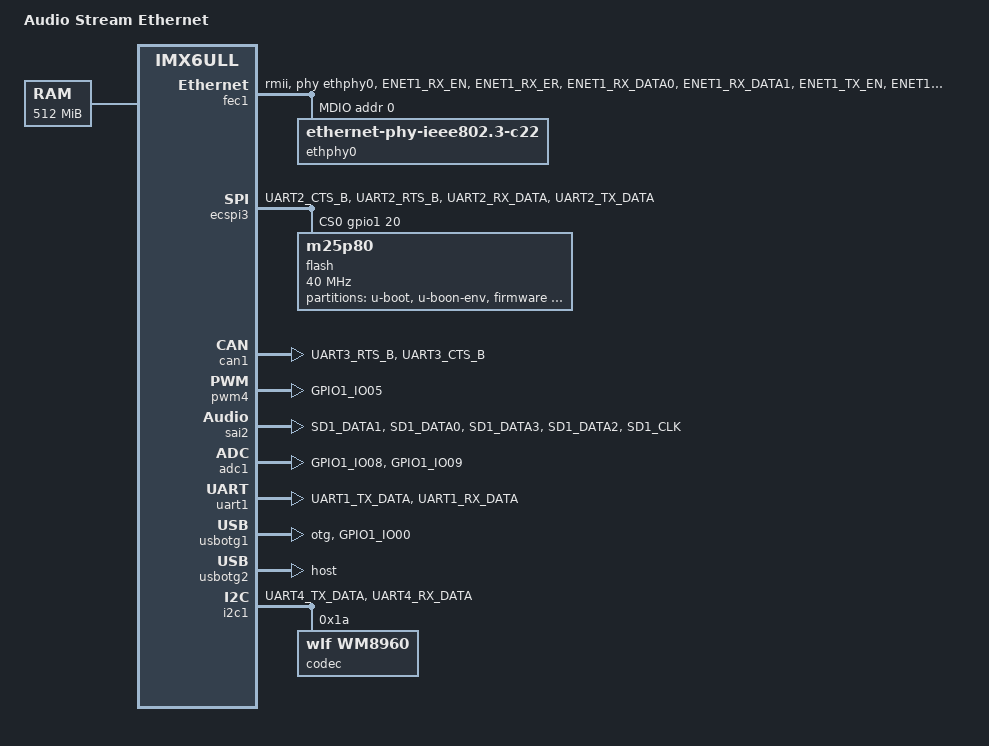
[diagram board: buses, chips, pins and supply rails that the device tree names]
/*
 * Copyright (C) 2016 Freescale Semiconductor, Inc.
 *
 * This program is free software; you can redistribute it and/or modify
 * it under the terms of the GNU General Public License version 2 as
 * published by the Free Software Foundation.
 */

/dts-v1/;

#include <dt-bindings/input/input.h>
#include "imx6ull.dtsi"

/ {
	model = "Audio Stream Ethernet";
	compatible = "wirelessroad,gw-imx6ull", "fsl,imx6ull";

	chosen {
		stdout-path = &uart1;
		bootargs = "console=ttymxc0,115200 rootwait fixrtc quiet";
	};

	memory {
		reg = <0x80000000 0x20000000>;
	};

	aliases {
		cpu0 = &cpu0;
		can1 = &can1;
		can2 = &can2;
		clks = &clks;
		fec1 = &fec1;
		ecspi3 = &ecspi3;
		gpc = &gpc;
		gpmi = &gpmi;
		iomuxc = &iomuxc;
		pwm4 = &pwm4;
		adc1 = &adc1;
		usbotg1 = &usbotg1;
		usbotg2 = &usbotg2;
		usdhc1 = &usdhc1;
		wdog1 = &wdog1;
	};
	
	soc {
		aips3: aips-bus@02200000 {
			compatible = "fsl,aips-bus", "simple-bus";
			#address-cells = <1>;
			#size-cells = <1>;
			reg = <0x02200000 0x100000>;
			ranges;

			dcp: dcp@02280000 {
				compatible = "fsl,imx6sl-dcp";
				reg = <0x02280000 0x4000>;
				interrupts = <GIC_SPI 46 IRQ_TYPE_LEVEL_HIGH>,
					     <GIC_SPI 47 IRQ_TYPE_LEVEL_HIGH>,
					     <GIC_SPI 48 IRQ_TYPE_LEVEL_HIGH>;
				clocks = <&clks IMX6ULL_CLK_DCP_CLK>;
				clock-names = "dcp";
			};

			rngb: rngb@02284000 {
				compatible = "fsl,imx6sl-rng", "fsl,imx-rng", "imx-rng";
				reg = <0x02284000 0x4000>;
				interrupts = <GIC_SPI 6 IRQ_TYPE_LEVEL_HIGH>;
				clocks =  <&clks IMX6UL_CLK_DUMMY>;
			};

			iomuxc_snvs: iomuxc-snvs@02290000 {
				compatible = "fsl,imx6ull-iomuxc-snvs";
				reg = <0x02290000 0x10000>;
				pinctrl-names = "default_snvs";
			};

		};
	};

	sound {
		compatible = "simple-audio-card";
		simple-audio-card,name = "mx6ul-wm8960";
		simple-audio-card,format = "i2s";
		simple-audio-card,bitclock-master = <&dailink_master>;
		simple-audio-card,frame-master = <&dailink_master>;
		simple-audio-card,widgets =
			"Microphone", "Mic Jack",
			"Line", "Line In",
			"Line", "Line Out",
			"Speaker", "Speaker",
			"Headphone", "Headphone Jack";
		simple-audio-card,routing =
			"Headphone Jack", "HP_L",
			"Headphone Jack", "HP_R",
			"Speaker", "SPK_LP",
			"Speaker", "SPK_LN",
			"Speaker", "SPK_RP",
			"Speaker", "SPK_RN",
			"LINPUT1", "Mic Jack",
			"LINPUT2", "Mic Jack",
			"RINPUT2", "Line In";

		simple-audio-card,cpu {
			sound-dai = <&sai2>;
		};

		dailink_master: simple-audio-card,codec {
			sound-dai = <&codec>;
			clocks = <&clks IMX6UL_CLK_SAI2>;
		};
	};
};

&cpu0 {
	operating-points = <
		/* kHz  uV */
		900000  1275000
		792000  1225000
		528000  1175000
		396000  1025000
		198000  950000
	>;
	fsl,soc-operating-points = <
		/* KHz  uV */
		900000  1250000
		792000  1175000
		528000  1175000
		396000  1175000
		198000  1175000
	>;
};

&clks {
	assigned-clocks = <&clks IMX6UL_CLK_PLL4_AUDIO_DIV>;
	assigned-clock-rates = <786432000>;
};

&fec1 {
	pinctrl-names = "default";
	pinctrl-0 = <&pinctrl_enet1>;
	phy-mode = "rmii";
	phy-handle = <&ethphy0>;
	status = "okay";
	mdio {
		#address-cells = <1>;
		#size-cells = <0>;

		ethphy0: ethernet-phy@0 {
			compatible = "ethernet-phy-ieee802.3-c22";
			reg = <0>;
		};

	};
};

&ecspi3 {
	fsl,spi-num-chipselects = <1>;
	cs-gpios = <&gpio1 20 0>;
	pinctrl-names = "default";
	pinctrl-0 = <&pinctrl_ecspi3_0>;
	status = "okay";
	dma-names = "rx", "tx";
	dmas = <&sdma 7 7 1>, <&sdma 8 7 2>;

	flash@0 {
		#address-cells = <1>;
		#size-cells = <1>;
		status = "okay";
		compatible = "m25p80";
		spi-max-frequency = <40000000>;
		reg = <0>;
		partition@0 {
			label = "u-boot";
			reg = <0x000000 0x0c0000>;
		};
		partition@1 {
			label = "u-boon-env";
			reg = <0x0c0000 0x040000>;
		};
		partition@2 {
			label = "firmware";
			reg = <0x100000 0x700000>;
		};
		partition@3 {
			label = "factory";
			reg = <0x000000 0x800000>;
		};
	};
};


&can1 {
	pinctrl-names = "default";
	pinctrl-0 = <&pinctrl_flexcan0>;
	status = "okay";
};


&gpc {
	fsl,cpu_pupscr_sw2iso = <0x1>;
	fsl,cpu_pupscr_sw = <0x0>;
	fsl,cpu_pdnscr_iso2sw = <0x1>;
	fsl,cpu_pdnscr_iso = <0x1>;
	fsl,ldo-bypass = <0>; /* DCDC, ldo-enable */
};

&iomuxc {
	pinctrl-names = "default";
	pinctrl-0 = <&pinctrl_hog_1>;
	imx6ul-evk {
		pinctrl_hog_1: hoggrp-1 {
			fsl,pins = <
				MX6UL_PAD_UART1_RTS_B__GPIO1_IO19	0x17059 /* SD1 CD */
			>;
		};

		pinctrl_adc1: adc1grp {
			fsl,pins = <
				MX6UL_PAD_GPIO1_IO08__GPIO1_IO08        0xb0
				MX6UL_PAD_GPIO1_IO09__GPIO1_IO09        0xb0
			>;
		};
		
		pinctrl_ecspi3_0: ecspi3grp-0 {
			fsl,pins = <
				MX6UL_PAD_UART2_CTS_B__ECSPI3_MOSI	0x110b1
				MX6UL_PAD_UART2_RTS_B__ECSPI3_MISO	0x110b1
				MX6UL_PAD_UART2_RX_DATA__ECSPI3_SCLK	0x110b1
				MX6UL_PAD_UART2_TX_DATA__GPIO1_IO20	0x10b0
			>;
		};

		pinctrl_i2c1: i2c1grp {
			fsl,pins = <
				MX6UL_PAD_UART4_TX_DATA__I2C1_SCL	0x4001b8b0
				MX6UL_PAD_UART4_RX_DATA__I2C1_SDA	0x4001b8b0
			>;
		};

		pinctrl_usb_otg1_id: usbotg1idgrp {
			fsl,pins = <
				MX6UL_PAD_GPIO1_IO00__ANATOP_OTG1_ID	0x17059
			>;
		};
		
		pinctrl_enet1: enet1grp {
			fsl,pins = <
				MX6UL_PAD_ENET1_RX_EN__ENET1_RX_EN	0x1b0b0
				MX6UL_PAD_ENET1_RX_ER__ENET1_RX_ER	0x1b0b0
				MX6UL_PAD_ENET1_RX_DATA0__ENET1_RDATA00	0x1b0b0
				MX6UL_PAD_ENET1_RX_DATA1__ENET1_RDATA01	0x1b0b0
				MX6UL_PAD_ENET1_TX_EN__ENET1_TX_EN	0x1b0b0
				MX6UL_PAD_ENET1_TX_DATA0__ENET1_TDATA00	0x1b0b0
				MX6UL_PAD_ENET1_TX_DATA1__ENET1_TDATA01	0x1b0b0
				MX6UL_PAD_ENET1_TX_CLK__ENET1_REF_CLK1	0x4001b031
			>;
		};


		pinctrl_flexcan0: flexcan0grp{
			fsl,pins = <
				MX6UL_PAD_UART3_RTS_B__FLEXCAN1_RX	0x1b020
				MX6UL_PAD_UART3_CTS_B__FLEXCAN1_TX	0x1b020
			>;
		};

		pinctrl_pwm4: pwm4grp {
			fsl,pins = <
				MX6UL_PAD_GPIO1_IO05__PWM4_OUT   0x110b0
			>;
		};


		pinctrl_uart1: uart1grp {
			fsl,pins = <
				MX6UL_PAD_UART1_TX_DATA__UART1_DCE_TX 0x1b0b1
				MX6UL_PAD_UART1_RX_DATA__UART1_DCE_RX 0x1b0b1
			>;
		};

		
		pinctrl_wdog: wdoggrp {
			fsl,pins = <
				MX6UL_PAD_LCD_RESET__WDOG1_WDOG_ANY    0x30b0
			>;
		};

		pinctrl_sai2: sai2grp {
			fsl,pins = <
				MX6UL_PAD_SD1_DATA1__SAI2_TX_BCLK  0x17088
				MX6UL_PAD_SD1_DATA0__SAI2_TX_SYNC  0x17088
				MX6UL_PAD_SD1_DATA3__SAI2_TX_DATA  0x11088
				MX6UL_PAD_SD1_DATA2__SAI2_RX_DATA  0x11088
				MX6UL_PAD_SD1_CLK__SAI2_MCLK       0x17088
			>;
		};

	};
};

&pwm4 {
	pinctrl-names = "default";
	pinctrl-0 = <&pinctrl_pwm4>;
	status = "okay";
};


&sai2 {
	pinctrl-names = "default";
	pinctrl-0 = <&pinctrl_sai2>;

	assigned-clocks = <&clks IMX6UL_CLK_SAI2_SEL>,
			  <&clks IMX6UL_CLK_SAI2>;
	assigned-clock-parents = <&clks IMX6UL_CLK_PLL4_AUDIO_DIV>;
	assigned-clock-rates = <0>, <24000000>;

	status = "okay";
};

&adc1 {
	pinctrl-names = "default";
	pinctrl-0 = <&pinctrl_adc1>;
/*	vref-supply = <&reg_vref_3v3>; */
	status = "okay";
};

&uart1 {
	pinctrl-names = "default";
	pinctrl-0 = <&pinctrl_uart1>;
	status = "okay";
};

&usbotg1 {
	dr_mode = "otg";
	srp-disable;
	hnp-disable;
	adp-disable;
	pinctrl-0 = <&pinctrl_usb_otg1_id>;
	disable-over-current;
	status = "okay";
};

&usbotg2 {
	dr_mode = "host";
	disable-over-current;
	status = "okay";
};

&usbphy1 {
	tx-d-cal = <0x5>;
};

&usbphy2 {
	tx-d-cal = <0x5>;
};

&wdog1 {
	pinctrl-names = "default";
	pinctrl-0 = <&pinctrl_wdog>;
	fsl,wdog_b;
};

&i2c1 {
	clock_frequency = <100000>;
	pinctrl-names = "default";
	pinctrl-0 = <&pinctrl_i2c1>;
	status = "okay";

	codec: wm8960@1a {
		#sound-dai-cells = <0>;
		compatible = "wlf,wm8960";
		reg = <0x1a>;
		wlf,shared-lrclk;
	};
};
